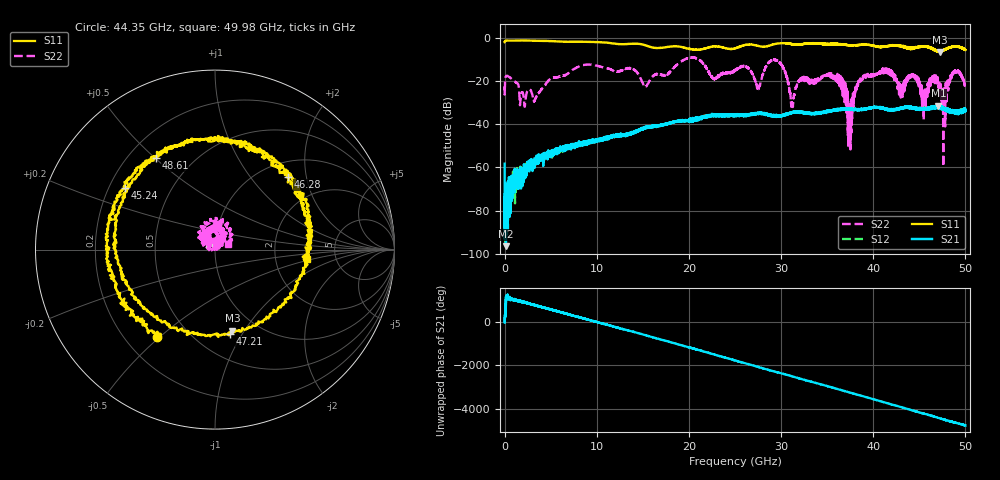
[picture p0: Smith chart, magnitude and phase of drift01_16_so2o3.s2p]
!Created with skrf (http://scikit-rf.org).
# Hz S RI R 50.0
!freq ReS11 ImS11 ReS21 ImS21 ReS12 ImS12 ReS22 ImS22
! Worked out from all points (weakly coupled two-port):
!   10001 points, 300 kHz to 50 GHz, reference 50 ohm
!   highest |S21| = -31.47 dB at 47.07 GHz (marker M1); lowest = -96.4 dB at 145.3 MHz (marker M2)
!   lowest |S11| = -6.7 dB at 47.2 GHz (marker M3), VSWR 2.71, Z = 38.6 - j44.3 ohm
!   |S11| at or under -10 dB: nowhere
!   |S22| runs from -59.6 to -9.2 dB; largest |S21 - S12| = 0.0039
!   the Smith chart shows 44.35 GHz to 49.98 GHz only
!   S11 on the Smith chart (normalised r, x): 44.35 GHz: 0.33, -0.49; 45.24 GHz: 0.26, +0.29; 46.28 GHz: 1.30, +1.57; 47.21 GHz: 0.73, -0.89; 48.61 GHz: 0.31, +0.50; 49.98 GHz: 3.06, -0.45
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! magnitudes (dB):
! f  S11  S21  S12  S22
! 300 kHz  -2.1  -58.3  -75.6  -22.5
! 145.3 MHz  -1.5  -96.4  -77.2  -17.9
! 3.29 GHz  -1.5  -57.4  -57.4  -28.8
! 8.335 GHz  -2.0  -48.9  -49.1  -12.9
! 16.67 GHz  -4.9  -40.7  -40.8  -16.7
! 25 GHz  -5.0  -35.9  -36.1  -15.4
! 29.58 GHz  -2.8  -36.5  -36.6  -10.6
! 31.23 GHz  -3.1  -34.9  -34.6  -30.7
! 33.34 GHz  -2.6  -35.2  -35.3  -20.0
! 36.22 GHz  -3.0  -33.6  -33.4  -20.3
! 37.47 GHz  -3.6  -33.3  -33.1  -38.5
! 38.65 GHz  -3.4  -33.3  -33.2  -20.0
! 41.67 GHz  -3.9  -33.4  -33.3  -16.1
! 44.35 GHz  -4.7  -32.7  -32.5  -17.1
! 45.24 GHz  -4.3  -33.0  -33.0  -24.1
! 46.28 GHz  -4.8  -32.0  -32.4  -18.3
! 47.07 GHz  -6.6  -31.5  -32.1  -23.1
! 47.2 GHz  -6.7  -32.3  -32.2  -23.0
! 47.21 GHz  -6.5  -33.1  -32.2  -24.5
! 48.61 GHz  -4.3  -33.9  -34.0  -17.3
! 49.98 GHz  -5.7  -33.5  -33.3  -22.0
! 50 GHz  -5.8  -33.8  -34.0  -21.7
